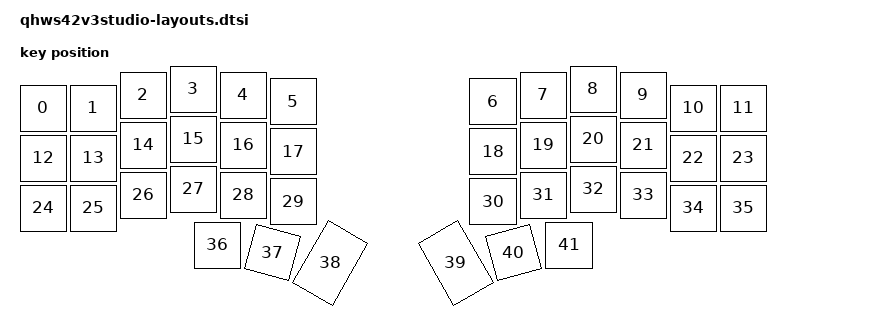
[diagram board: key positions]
#include <physical_layouts.dtsi>

/ {
    qhkb_default_layout: qhkb_default_layout {
        compatible = "zmk,physical-layout";
        display-name = "Default Layout";
        keys  //                     w   h    x    y     rot    rx    ry
            = <&key_physical_attrs 100 100    0   38       0     0     0>
            , <&key_physical_attrs 100 100  100   38       0     0     0>
            , <&key_physical_attrs 100 100  200   12       0     0     0>
            , <&key_physical_attrs 100 100  300    0       0     0     0>
            , <&key_physical_attrs 100 100  400   12       0     0     0>
            , <&key_physical_attrs 100 100  500   25       0     0     0>
            , <&key_physical_attrs 100 100  900   25       0     0     0>
            , <&key_physical_attrs 100 100 1000   12       0     0     0>
            , <&key_physical_attrs 100 100 1100    0       0     0     0>
            , <&key_physical_attrs 100 100 1200   12       0     0     0>
            , <&key_physical_attrs 100 100 1300   38       0     0     0>
            , <&key_physical_attrs 100 100 1400   38       0     0     0>
            , <&key_physical_attrs 100 100    0  138       0     0     0>
            , <&key_physical_attrs 100 100  100  138       0     0     0>
            , <&key_physical_attrs 100 100  200  112       0     0     0>
            , <&key_physical_attrs 100 100  300  100       0     0     0>
            , <&key_physical_attrs 100 100  400  112       0     0     0>
            , <&key_physical_attrs 100 100  500  125       0     0     0>
            , <&key_physical_attrs 100 100  900  125       0     0     0>
            , <&key_physical_attrs 100 100 1000  112       0     0     0>
            , <&key_physical_attrs 100 100 1100  100       0     0     0>
            , <&key_physical_attrs 100 100 1200  112       0     0     0>
            , <&key_physical_attrs 100 100 1300  138       0     0     0>
            , <&key_physical_attrs 100 100 1400  138       0     0     0>
            , <&key_physical_attrs 100 100    0  238       0     0     0>
            , <&key_physical_attrs 100 100  100  238       0     0     0>
            , <&key_physical_attrs 100 100  200  212       0     0     0>
            , <&key_physical_attrs 100 100  300  200       0     0     0>
            , <&key_physical_attrs 100 100  400  212       0     0     0>
            , <&key_physical_attrs 100 100  500  225       0     0     0>
            , <&key_physical_attrs 100 100  900  225       0     0     0>
            , <&key_physical_attrs 100 100 1000  212       0     0     0>
            , <&key_physical_attrs 100 100 1100  200       0     0     0>
            , <&key_physical_attrs 100 100 1200  212       0     0     0>
            , <&key_physical_attrs 100 100 1300  238       0     0     0>
            , <&key_physical_attrs 100 100 1400  238       0     0     0>
            , <&key_physical_attrs 100 100  348  312       0     0     0>
            , <&key_physical_attrs 100 100  348  312    1500   398   790>
            , <&key_physical_attrs 100 150  348  262    3000   398   790>
            , <&key_physical_attrs 100 150 1052  262 (-3000)  1102   790>
            , <&key_physical_attrs 100 100 1052  312 (-1500)  1102   790>
            , <&key_physical_attrs 100 100 1052  312       0     0     0>
            ;
    };

    position_map {
        compatible = "zmk,physical-layout-position-map";
        complete;
        layout1: layout1 {
            physical-layout = <&qhkb_default_layout>;
            positions
                = <0  1  2  3  4  5        6  7  8  9  10 11>
                , <12 13 14 15 16 17       18 19 20 21 22 23>
                , <24 25 26 27 28 29       30 31 32 33 34 35>
                , <            36 37 38 39 40 41            >;
        };
    };
};
